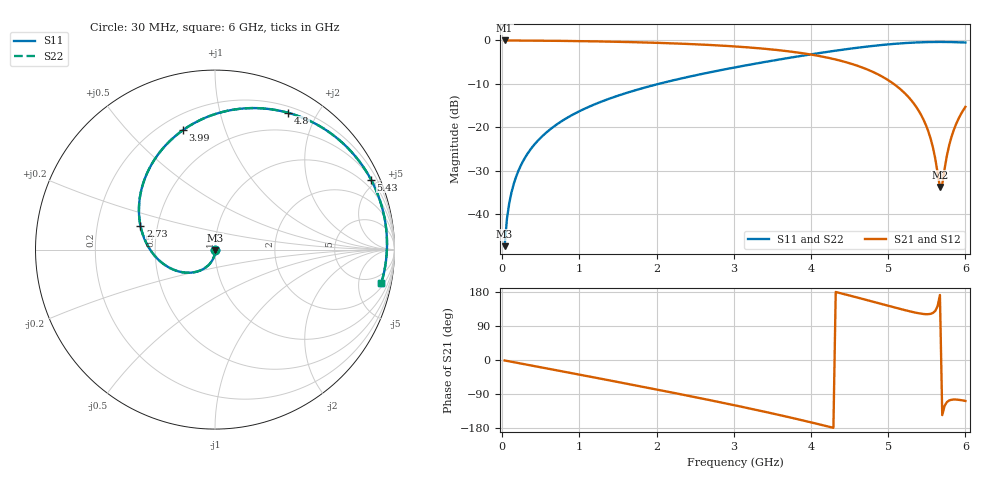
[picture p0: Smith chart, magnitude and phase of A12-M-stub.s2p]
! yapnr Order 0 O0-M: O0-M A12 STUB (stub, family M)
! stackup OSHPARK-4L-EM528, nominal parameters; geometry of the OSHPARK-4L-FR408HR design
! model: 2D quasi-static RLGC (Djordjevic-Sarkar, Huray roughness, Wheeler loss); generated by python -m yapnr.rf.coupons expected --stackup OSHPARK-4L-FR408HR --upload M
! reference planes 10 mm from each end; 50 ohm (from the M line's Zc)
# GHz S DB R 50
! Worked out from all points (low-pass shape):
!   200 points, 30 MHz to 6 GHz, reference 50 ohm
!   highest |S21| = -0.01 dB at 30 MHz (marker M1); lowest = -33.8 dB at 5.67 GHz (marker M2)
!   |S21| within 3 dB of the highest: start of sweep to 3.911 GHz
!   lowest |S11| = -47.4 dB at 30 MHz (marker M3), VSWR 1.01, Z = 50 - j0.424 ohm
!   |S11| at or under -10 dB: start of sweep to 2.029 GHz
!   |S22| runs from -47.4 to -0.3 dB; largest |S21 - S12| = 0
!   S11 on the Smith chart (normalised r, x): 30 MHz: 1.00, -0.01; 2.73 GHz: 0.40, +0.13; 3.99 GHz: 0.29, +0.73; 4.8 GHz: 0.27, +1.63; 5.43 GHz: 0.55, +4.61; 6 GHz: 2.66, -9.30
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0.03  -47.41 -83.6  -0.01 -1.2  -0.01 -1.2  -47.41 -83.6
0.06  -41.13 -87.3  -0.01 -2.4  -0.01 -2.4  -41.13 -87.3
0.12  -34.94 -91.4  -0.01 -4.7  -0.01 -4.7  -34.94 -91.4
0.27  -27.78 -98.5  -0.03 -10.5  -0.03 -10.5  -27.78 -98.5
0.57  -21.23 -110.9  -0.07 -22.0  -0.07 -22.0  -21.23 -110.9
1.05  -15.87 -129.9  -0.17 -40.6  -0.17 -40.6  -15.87 -129.9
2.04  -9.95 -169.4  -0.57 -79.5  -0.57 -79.5  -9.95 -169.4
2.73  -7.20 162.1  -1.08 -107.6  -1.08 -107.6  -7.20 162.1
3.03  -6.16 149.3  -1.40 -120.3  -1.40 -120.3  -6.16 149.3
3.54  -4.54 126.5  -2.17 -142.9  -2.17 -142.9  -4.54 126.5
3.99  -3.23 105.0  -3.23 -164.1  -3.23 -164.1  -3.23 105.0
4.02  -3.15 103.5  -3.32 -165.5  -3.32 -165.5  -3.15 103.5
4.44  -2.06 81.8  -4.95 173.3  -4.95 173.3  -2.06 81.8
4.8  -1.27 61.9  -7.24 154.1  -7.24 154.1  -1.27 61.9
5.01  -0.90 49.7  -9.27 142.6  -9.27 142.6  -0.90 49.7
5.43  -0.42 24.2  -17.30 122.2  -17.30 122.2  -0.42 24.2
5.58  -0.36 14.8  -24.70 124.2  -24.70 124.2  -0.36 14.8
5.67  -0.35 9.2  -33.78 171.7  -33.78 171.7  -0.35 9.2
5.7  -0.35 7.3  -33.14 -145.4  -33.14 -145.4  -0.35 7.3
5.76  -0.36 3.6  -26.57 -111.2  -26.57 -111.2  -0.36 3.6
5.82  -0.38 -0.2  -22.21 -104.9  -22.21 -104.9  -0.38 -0.2
6  -0.49 -11.4  -15.31 -108.0  -15.31 -108.0  -0.49 -11.4
